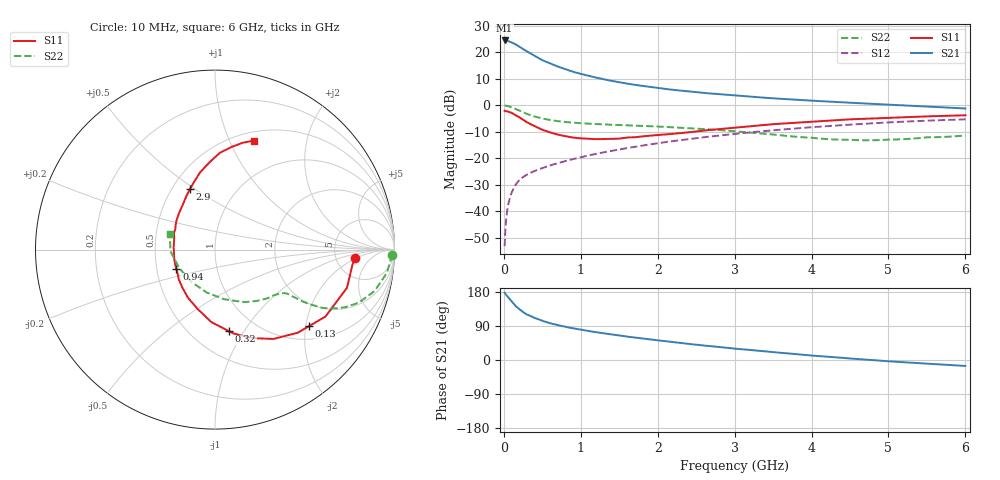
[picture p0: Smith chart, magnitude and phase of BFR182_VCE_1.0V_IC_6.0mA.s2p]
! Infineon Technologies  Discrete & RF Semiconductors
! BFR182
! VCE =  1.0 V,  IC =  6.0 mA
! Common Emitter S-Parameters:  Nov 2015
# GHz  S  MA  R  50
!  f  S11  S21  S12  S22
! GHz  MAG  ANG  MAG  ANG  MAG  ANG  MAG  ANG
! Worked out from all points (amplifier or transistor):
!   210 points, 10 MHz to 6 GHz, reference 50 ohm
!   highest |S21| = 24.4 dB at 10 MHz (marker M1)
!   |S21| within 3 dB of that: start of sweep to 237.5 MHz
!   unconditionally stable (mu >= 1): 885.3 MHz to 2.975 GHz
!   at 185 MHz: K = 0.38, MSG = 25.6 dB, |S12| = -28.8 dB
!   at 1.52 GHz: K = 1.08, MAG = 10.9 dB, |S12| = -16.6 dB
!   at 6 GHz: K = 0.92, MSG = 2.1 dB, |S12| = -5.3 dB
!   S11 on the Smith chart (normalised r, x): 10 MHz: 7.76, -1.86; 130 MHz: 1.32, -2.08; 320 MHz: 0.74, -0.86; 940 MHz: 0.63, -0.15; 2.9 GHz: 0.61, +0.48; 6 GHz: 0.59, +1.24
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0.01  0.7828 -3.4  16.6 177.5  0.0022 88.9  0.9849 -1.6
0.02  0.7702 -6.4  16.55 174.4  0.0045 84.7  0.9813 -3.2
0.05  0.7657 -16.1  16.31 166.8  0.0119 81.4  0.9659 -7.8
0.1  0.7198 -31.2  15.32 154.6  0.0221 75.4  0.9186 -14.6
0.13  0.675 -39.3  14.52 147.8  0.0276 71.2  0.8784 -17.9
0.15  0.6533 -45.2  14.11 142.9  0.0313 69.2  0.8533 -20.3
0.2  0.5948 -56.8  12.74 134.3  0.0384 65.8  0.793 -23.9
0.26  0.52 -69.7  11.21 125.2  0.0452 61.7  0.7252 -26.9
0.3  0.4779 -77.7  10.32 120.0  0.049 60.7  0.6849 -28.4
0.32  0.4607 -80.4  9.933 118.5  0.0507 60.5  0.6699 -28.7
0.4  0.4038 -93.0  8.47 111.0  0.0575 59.6  0.6099 -30.0
0.52  0.3359 -108.7  6.863 102.1  0.0667 59.4  0.5534 -30.7
0.7  0.2797 -130.4  5.362 91.9  0.0804 60.1  0.4993 -31.1
0.94  0.2411 -152.9  4.109 82.2  0.0995 61.0  0.4639 -31.7
1.02  0.2359 -160.8  3.824 79.4  0.1059 61.2  0.456 -32.2
1.4  0.232 169.7  2.871 67.5  0.1373 61.5  0.428 -35.5
2.02  0.2752 139.4  2.094 51.5  0.1933 59.2  0.3949 -43.8
2.9  0.365 112.4  1.566 32.2  0.2774 52.3  0.3315 -61.5
3.1  0.3876 108.3  1.485 28.3  0.2969 50.2  0.3125 -66.8
4.1  0.4987 92.0  1.195 10.4  0.3935 39.2  0.2354 -105.9
5.1  0.586 79.7  1.008 -4.6  0.4817 26.7  0.2258 -158.4
6  0.6455 70.3  0.867 -15.7  0.5405 14.1  0.2679 160.7
